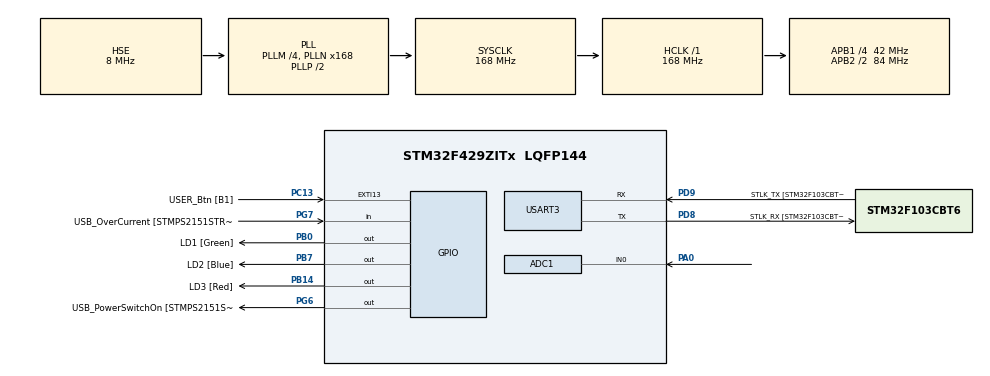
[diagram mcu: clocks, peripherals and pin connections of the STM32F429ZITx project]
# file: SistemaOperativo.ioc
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ADC1.Channel-0\#ChannelRegularConversion=ADC_CHANNEL_0
ADC1.NbrOfConversionFlag=1
ADC1.Rank-0\#ChannelRegularConversion=1
ADC1.SamplingTime-0\#ChannelRegularConversion=ADC_SAMPLETIME_3CYCLES
ADC1.master=1
Mcu.Family=STM32F4
Mcu.Name=STM32F429ZITx
Mcu.Package=LQFP144
NVIC.ADC_IRQn=true\:0\:0\:false\:false\:true\:true\:true\:true
NVIC.EXTI15_10_IRQn=true\:0\:0\:false\:false\:true\:true\:true\:true
NVIC.PriorityGroup=NVIC_PRIORITYGROUP_4
NVIC.TIM6_DAC_IRQn=true\:0\:0\:false\:false\:true\:true\:true\:true
NVIC.USART3_IRQn=true\:0\:0\:false\:false\:true\:true\:true\:true
PA0/WKUP.Signal=ADCx_IN0
PA1.GPIO_Label=RMII_REF_CLK [LAN8742A-CZ-TR_REFCLK0]
PA1.Signal=ETH_REF_CLK
PA10.GPIO_Label=USB_ID
PA10.Signal=USB_OTG_FS_ID
PA11.GPIO_Label=USB_DM
PA11.Signal=USB_OTG_FS_DM
PA12.GPIO_Label=USB_DP
PA12.Signal=USB_OTG_FS_DP
PA13.GPIO_Label=TMS
PA13.Mode=Serial_Wire
PA13.Signal=SYS_JTMS-SWDIO
PA14.GPIO_Label=TCK
PA14.Mode=Serial_Wire
PA14.Signal=SYS_JTCK-SWCLK
PA2.GPIO_Label=RMII_MDIO [LAN8742A-CZ-TR_MDIO]
PA2.Signal=ETH_MDIO
PA7.GPIO_Label=RMII_CRS_DV [LAN8742A-CZ-TR_CRS_DV]
PA7.Signal=ETH_CRS_DV
PA8.GPIO_Label=USB_SOF [TP1]
PA8.Signal=USB_OTG_FS_SOF
PA9.GPIO_Label=USB_VBUS
PA9.Signal=USB_OTG_FS_VBUS
PB0.GPIO_Label=LD1 [Green]
PB0.Signal=GPIO_Output
PB13.GPIO_Label=RMII_TXD1 [LAN8742A-CZ-TR_TXD1]
PB13.Signal=ETH_TXD1
PB14.GPIO_Label=LD3 [Red]
PB14.Signal=GPIO_Output
PB7.GPIO_Label=LD2 [Blue]
PB7.Signal=GPIO_Output
PC1.GPIO_Label=RMII_MDC [LAN8742A-CZ-TR_MDC]
PC1.Signal=ETH_MDC
PC13.GPIO_Label=USER_Btn [B1]
PC13.Signal=GPXTI13
PC14/OSC32_IN.Mode=LSE-External-Oscillator
PC14/OSC32_IN.Signal=RCC_OSC32_IN
PC15/OSC32_OUT.Mode=LSE-External-Oscillator
PC15/OSC32_OUT.Signal=RCC_OSC32_OUT
PC4.GPIO_Label=RMII_RXD0 [LAN8742A-CZ-TR_RXD0]
PC4.Signal=ETH_RXD0
PC5.GPIO_Label=RMII_RXD1 [LAN8742A-CZ-TR_RXD1]
PC5.Signal=ETH_RXD1
PD8.GPIO_Label=STLK_RX [STM32F103CBT6_PA3]
PD8.Mode=Asynchronous
PD8.Signal=USART3_TX
PD9.GPIO_Label=STLK_TX [STM32F103CBT6_PA2]
PD9.Mode=Asynchronous
PD9.Signal=USART3_RX
PG11.GPIO_Label=RMII_TX_EN [LAN8742A-CZ-TR_TXEN]
PG11.Signal=ETH_TX_EN
PG13.GPIO_Label=RMII_TXD0 [LAN8742A-CZ-TR_TXD0]
PG13.Signal=ETH_TXD0
PG6.GPIO_Label=USB_PowerSwitchOn [STMPS2151STR_EN]
PG6.Signal=GPIO_Output
PG7.GPIO_Label=USB_OverCurrent [STMPS2151STR_FAULT]
PG7.Signal=GPIO_Input
PH0/OSC_IN.GPIO_Label=MCO [STM32F103CBT6_PA8]
PH0/OSC_IN.Mode=HSE-External-Clock-Source
PH0/OSC_IN.Signal=RCC_OSC_IN
PH1/OSC_OUT.Mode=HSE-External-Clock-Source
PH1/OSC_OUT.Signal=RCC_OSC_OUT
ProjectManager.HeapSize=0x200
ProjectManager.StackSize=0x400
ProjectManager.TargetToolchain=STM32CubeIDE
RCC.48MHZClocksFreq_Value=48000000
RCC.AHBFreq_Value=168000000
RCC.APB1CLKDivider=RCC_HCLK_DIV4
RCC.APB1Freq_Value=42000000
RCC.APB1TimFreq_Value=84000000
RCC.APB2CLKDivider=RCC_HCLK_DIV2
RCC.APB2Freq_Value=84000000
RCC.APB2TimCLKDivider=2
RCC.APB2TimFreq_Value=168000000
RCC.CortexFreq_Value=168000000
RCC.HCLKFreq_Value=168000000
RCC.HSE_VALUE=8000000
RCC.HSI_VALUE=16000000
RCC.PLLM=4
RCC.PLLMUL=RCC_PLL_MUL9
RCC.PLLN=168
RCC.PLLQ=7
RCC.PLLSourceVirtual=RCC_PLLSOURCE_HSE
RCC.PRESCALERUSB=RCC_USBCLKSOURCE_PLL_DIV1_5
RCC.SYSCLKFreq_VALUE=168000000
RCC.SYSCLKSource=RCC_SYSCLKSOURCE_PLLCLK
RCC.SYSCLKSourceVirtual=RCC_SYSCLKSOURCE_PLLCLK
RCC.USBFreq_Value=48000000
RCC.VCOOutputFreq_Value=336000000
SH.ADCx_IN0.0=ADC1_IN0,IN0
TIM6.AutoReloadPreload=TIM_AUTORELOAD_PRELOAD_ENABLE
TIM6.Prescaler=10000
USART3.VirtualMode=VM_ASYNC
VP_TIM6_VS_ClockSourceINT.Mode=Enable_Timer
board=NUCLEO-F429ZI

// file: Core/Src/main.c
/* USER CODE BEGIN Header */
/**
  ******************************************************************************
  * @file           : main.c
  * @brief          : Main program body
  ******************************************************************************
  * @attention
  *
  * Copyright (c) 2022 STMicroelectronics.
  * All rights reserved.
  *
  * This software is licensed under terms that can be found in the LICENSE file
  * in the root directory of this software component.
  * If no LICENSE file comes with this software, it is provided AS-IS.
  *
  ******************************************************************************
  */
/* USER CODE END Header */
#include "main.h"
#include "adc.h"
#include "tim.h"
#include "usart.h"
#include "gpio.h"

/* USER CODE BEGIN PD */
//Cnatidad maxima de elementos en una cola
#define QUEUE_LENGTH 10
/* USER CODE END PD */

/* USER CODE BEGIN PV */

//estructuras de las tareas, se crea una estrutura para cada tarea
t_os_task t_task1;
t_os_task t_task2;
t_os_task t_task3;
t_os_task t_task4;
//estructuras de los nodos para usar la lista
t_node n_task1;
t_node n_task2;
t_node n_task3;
t_node n_task4;
//argumentos que se mandan a las tareas
uint32_t arg1=1;
uint32_t arg2=2;
uint32_t arg3=3;
uint32_t arg4=4;
//semaforos utilizados
t_semaphore smf;
//queue utilizados
t_os_queue queue1;
//data para probar la queue
uint8_t data_send_task[10]="d:t2 a t3\n";
uint8_t buffer_queue[QUEUE_LENGTH*sizeof(data_send_task)];

void task1(void*parameter)
{
	while(1)
	{
		delay_task(200);
		HAL_GPIO_TogglePin(GPIOB, LD3_Pin);
	}
}

void task2(void*parameter)
{
	while(1)
	{
		delay_task(20);
		queue_send(&queue1,&data_send_task);
		HAL_GPIO_TogglePin(GPIOB, LD1_Pin);
	}
}
void task3(void*parameter)
{
	uint8_t data_send_task3[10];
	while(1)
	{
		delay_task(100);
		queue_receive(&queue1,&data_send_task3);
		HAL_UART_Transmit(&huart3,&data_send_task3,10,2);
		HAL_GPIO_TogglePin(GPIOB, LD2_Pin);
	}

}

//Funciones de callback para las interrupciones que setea el usuario
void callback_timer6(void){}
void callback_gpio(void ){}

/* USER CODE END PV */

void SystemClock_Config(void);

int main(void)
{

  /* MCU Configuration--------------------------------------------------------*/

  /* Reset of all peripherals, Initializes the Flash interface and the Systick. */
  HAL_Init();

  /* Configure the system clock */
  SystemClock_Config();

  /* Initialize all configured peripherals */
  MX_GPIO_Init();
  MX_USART3_UART_Init();
  MX_TIM6_Init();
  MX_ADC1_Init();
  /* Infinite loop */
  /* USER CODE BEGIN WHILE */
  while (1)
  {
	  //Se inicializan las tareas
	  os_control_add_task(task1, &arg1, TASK_IDLE_PRIORITY+1, &t_task1, &n_task1);
	  os_control_add_task(task2, &arg2, TASK_IDLE_PRIORITY+3, &t_task2, &n_task2);
	  os_control_add_task(task3, &arg3, TASK_IDLE_PRIORITY+3, &t_task3, &n_task3);
	  //Se inicializa la queue para el sistema
	  init_queue(&queue1, buffer_queue, QUEUE_LENGTH,sizeof(data_send_task));
	  //Se inicializan las interrupciones deseadas
	  os_install_irq(TIM6_DAC_IRQn, callback_timer6);
	  os_install_irq(EXTI15_10_IRQn  , callback_gpio);
	  //Se  inicializa  el sistema operativo
	  os_init();
	  //funcion para manejar si u=hubo un error en la inicializacion del SO
	  error_hook();
    /* USER CODE END WHILE */

  }
}

void SystemClock_Config(void)
{
  RCC_OscInitTypeDef RCC_OscInitStruct = {0};
  RCC_ClkInitTypeDef RCC_ClkInitStruct = {0};

  /** Configure the main internal regulator output voltage
  */
  __HAL_RCC_PWR_CLK_ENABLE();
  __HAL_PWR_VOLTAGESCALING_CONFIG(PWR_REGULATOR_VOLTAGE_SCALE1);

  /** Initializes the RCC Oscillators according to the specified parameters
  * in the RCC_OscInitTypeDef structure.
  */
  RCC_OscInitStruct.OscillatorType = RCC_OSCILLATORTYPE_HSE;
  RCC_OscInitStruct.HSEState = RCC_HSE_BYPASS;
  RCC_OscInitStruct.PLL.PLLState = RCC_PLL_ON;
  RCC_OscInitStruct.PLL.PLLSource = RCC_PLLSOURCE_HSE;
  RCC_OscInitStruct.PLL.PLLM = 4;
  RCC_OscInitStruct.PLL.PLLN = 168;
  RCC_OscInitStruct.PLL.PLLP = RCC_PLLP_DIV2;
  RCC_OscInitStruct.PLL.PLLQ = 7;
  if (HAL_RCC_OscConfig(&RCC_OscInitStruct) != HAL_OK)
  {
    Error_Handler();
  }

  /** Initializes the CPU, AHB and APB buses clocks
  */
  RCC_ClkInitStruct.ClockType = RCC_CLOCKTYPE_HCLK|RCC_CLOCKTYPE_SYSCLK
                              |RCC_CLOCKTYPE_PCLK1|RCC_CLOCKTYPE_PCLK2;
  RCC_ClkInitStruct.SYSCLKSource = RCC_SYSCLKSOURCE_PLLCLK;
  RCC_ClkInitStruct.AHBCLKDivider = RCC_SYSCLK_DIV1;
  RCC_ClkInitStruct.APB1CLKDivider = RCC_HCLK_DIV4;
  RCC_ClkInitStruct.APB2CLKDivider = RCC_HCLK_DIV2;

  if (HAL_RCC_ClockConfig(&RCC_ClkInitStruct, FLASH_LATENCY_5) != HAL_OK)
  {
    Error_Handler();
  }
}

void Error_Handler(void)
{
  __disable_irq();
  while (1)
  {
  }
}
